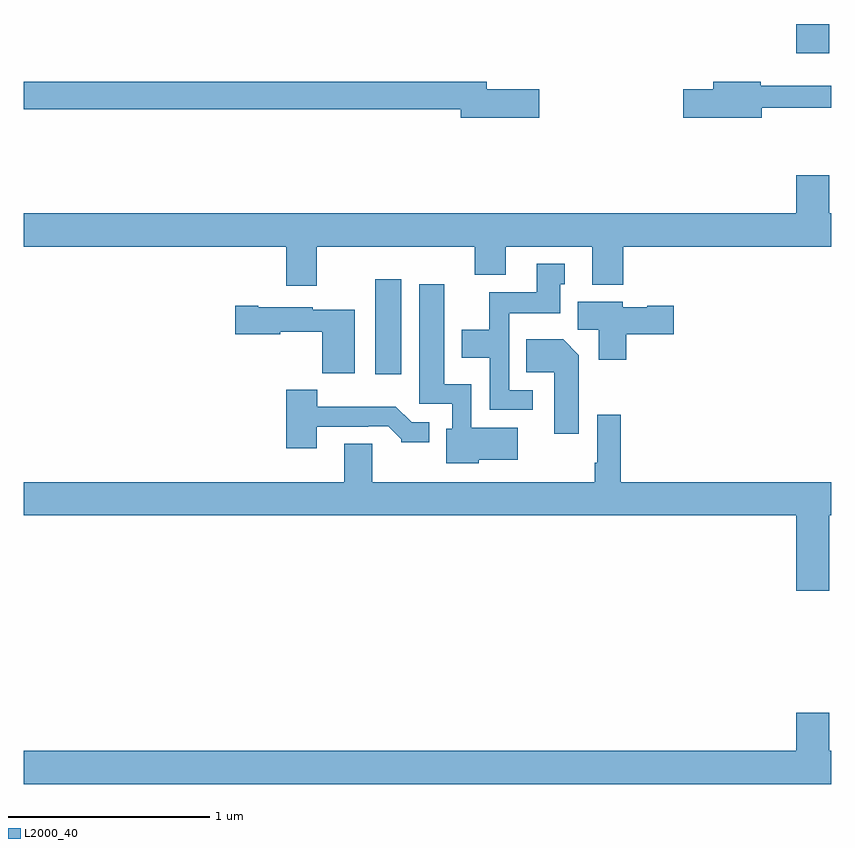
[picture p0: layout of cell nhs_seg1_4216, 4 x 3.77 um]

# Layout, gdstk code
import gdstk
lib = gdstk.Library(unit=1e-6, precision=1e-09)
def R(c, l, rs):  # rectangles x0, y0, x1, y1
    for r in rs: c.add(gdstk.rectangle(r[:2], r[2:], *l))
def P(c, l, *ps):  # polygons
    for p in ps: c.add(gdstk.Polygon(p, *l))
L2000_40 = (2000, 40)

nhs_seg1_4216 = lib.new_cell('nhs_seg1_4216')
R(nhs_seg1_4216, L2000_40, [(342.74,520.464,342.871,520.933), (344.828,522.054,344.992,522.199)])
P(nhs_seg1_4216, L2000_40, [(343.555,521.876),(343.294,521.876),(343.294,521.912),(341,521.912),(341,521.776),(343.166,521.776),(343.166,521.734),(343.555,521.734)],
  [(344.656,521.784),(345,521.784),(345,521.893),(344.652,521.893),(344.652,521.912),(344.417,521.912),(344.417,521.876),(344.268,521.876),(344.268,521.734),(344.656,521.734)],
  [(341,521.096),(342.299,521.096),(342.299,520.902),(342.451,520.902),(342.451,521.096),(343.235,521.096),(343.235,520.955),(343.387,520.955),(343.387,521.096),(343.817,521.096),(343.817,520.907),(343.97,520.907),(343.97,521.096),(345,521.096),(345,521.26),(344.992,521.26),(344.992,521.449),(344.828,521.449),(344.828,521.26),(341,521.26)],
  [(343.522,520.383),(343.404,520.383),(343.404,520.766),(343.657,520.766),(343.657,520.908),(343.681,520.908),(343.681,521.011),(343.541,521.011),(343.541,520.87),(343.306,520.87),(343.306,520.684),(343.169,520.684),(343.169,520.544),(343.308,520.544),(343.308,520.287),(343.522,520.287)],
  [(343.254,520.04),(343.447,520.04),(343.447,520.198),(343.218,520.198),(343.218,520.414),(343.084,520.414),(343.084,520.909),(342.959,520.909),(342.959,520.317),(343.122,520.317),(343.122,520.194),(343.094,520.194),(343.094,520.022),(343.254,520.022)],
  [(343.985,520.661),(344.221,520.661),(344.221,520.803),(344.088,520.803),(344.088,520.795),(343.968,520.795),(343.968,520.822),(343.745,520.822),(343.745,520.684),(343.85,520.684),(343.85,520.536),(343.985,520.536)],
  [(342.64,520.783),(342.432,520.783),(342.432,520.795),(342.16,520.795),(342.16,520.803),(342.048,520.803),(342.048,520.661),(342.27,520.661),(342.27,520.673),(342.478,520.673),(342.478,520.469),(342.64,520.469)],
  [(343.75,520.558),(343.672,520.636),(343.489,520.636),(343.489,520.472),(343.628,520.472),(343.628,520.167),(343.75,520.167)],
  [(342.451,520.203),(342.707,520.203),(342.707,520.206),(342.806,520.206),(342.87,520.142),(342.87,520.127),(343.009,520.127),(343.009,520.224),(342.921,520.224),(342.843,520.303),(342.454,520.303),(342.454,520.387),(342.299,520.387),(342.299,520.097),(342.451,520.097)],
  [(344.992,519.764),(345,519.764),(345,519.928),(343.958,519.928),(343.958,520.261),(343.842,520.261),(343.842,520.024),(343.83,520.024),(343.83,519.928),(342.727,519.928),(342.727,520.118),(342.587,520.118),(342.587,519.928),(341,519.928),(341,519.764),(344.828,519.764),(344.828,519.39),(344.992,519.39)],
  [(345,518.596),(344.992,518.596),(344.992,518.785),(344.828,518.785),(344.828,518.596),(341,518.596),(341,518.432),(345,518.432)])

lib.write_gds('nhs_seg1_4216.gds')
